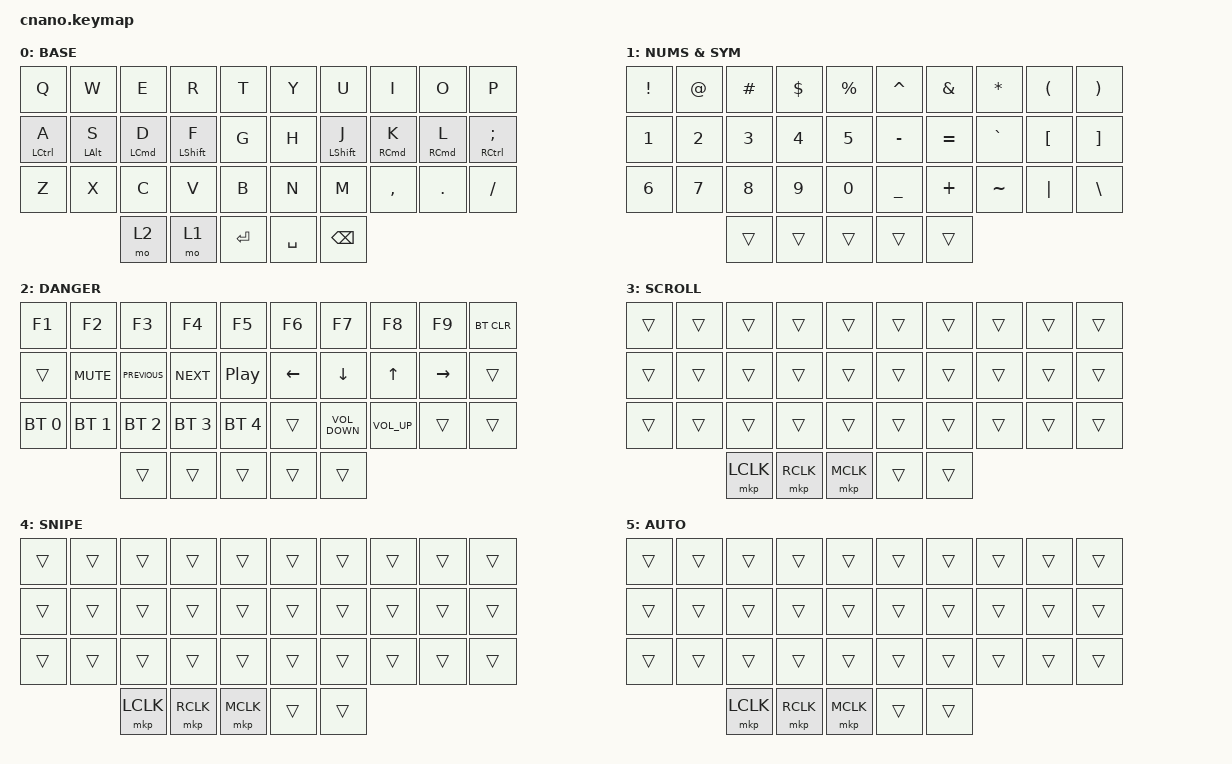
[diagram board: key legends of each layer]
#include <behaviors/mouse_keys.dtsi>

#include "zmk-helpers/helper.h"

#define HM_TAPPING_TERM 280
#define HM_TAPPING_TERM_FAST 175
#define HM_PRIOR_IDLE 150

#define COMBO_TERM_FAST 35
#define COMBO_TERM_SLOW 40
#define COMBO_PRIOR_IDLE 100

#define BASE 0
#define NUMS 1
#define DANGER 2
#define SCROLL 3
#define SNIPE 4
#define AUTO 5

#include "zmk-helpers/key-labels/34.h"                                      // key-position labels
#include <behaviors.dtsi>

#include <dt-bindings/zmk/bt.h>
#include <dt-bindings/zmk/keys.h>
#include <dt-bindings/zmk/mouse.h>

#define KEYS_L LT0 LT1 LT2 LT3 LT4 LM0 LM1 LM2 LM3 LM4 LB0 LB1 LB2 LB3 LB4  // left-hand keys
#define KEYS_R RT0 RT1 RT2 RT3 RT4 RM0 RM1 RM2 RM3 RM4 RB0 RB1 RB2 RB3 RB4  // right-hand keys
#define KEYS_T                 LH1 LH0 RH0 RH1                              // thumb keys

/ {
    combos {
        compatible = "zmk,combos";

        LeftClickLeft {
            timeout-ms = <COMBO_TERM_FAST>;
            require-prior-idle-ms = <COMBO_PRIOR_IDLE>;
            bindings = <&mkp LCLK>;
            key-positions = <11 12>;
        };

        RightClickLeft {
            timeout-ms = <COMBO_TERM_FAST>;
            require-prior-idle-ms = <COMBO_PRIOR_IDLE>;
            bindings = <&mkp RCLK>;
            key-positions = <12 13>;
        };

        MiddleClickLeft {
            timeout-ms = <COMBO_TERM_FAST>;
            require-prior-idle-ms = <COMBO_PRIOR_IDLE>;
            bindings = <&mkp MCLK>;
            key-positions = <11 12 13>;
        };

        LeftClickRight {
            timeout-ms = <COMBO_TERM_FAST>;
            require-prior-idle-ms = <COMBO_PRIOR_IDLE>;
            bindings = <&mkp LCLK>;
            key-positions = <16 17>;
        };

        RightClickRight {
            timeout-ms = <COMBO_TERM_FAST>;
            require-prior-idle-ms = <COMBO_PRIOR_IDLE>;
            bindings = <&mkp RCLK>;
            key-positions = <17 18>;
        };

        MiddleClickRight {
            timeout-ms = <COMBO_TERM_FAST>;
            require-prior-idle-ms = <COMBO_PRIOR_IDLE>;
            bindings = <&mkp MCLK>;
            key-positions = <16 17 18>;
        };

        ScrollLayerLeft {
            timeout-ms = <COMBO_TERM_FAST>;
            require-prior-idle-ms = <COMBO_PRIOR_IDLE>;
            bindings = <&mo 3>;
            key-positions = <21 22 23>;
        };

        SnipeLayerLeft {
            timeout-ms = <COMBO_TERM_FAST>;
            require-prior-idle-ms = <COMBO_PRIOR_IDLE>;
            bindings = <&mo 4>;
            key-positions = <20 21 22>;
        };

        ScrollLayerRight {
            timeout-ms = <COMBO_TERM_FAST>;
            require-prior-idle-ms = <COMBO_PRIOR_IDLE>;
            bindings = <&mo 3>;
            key-positions = <26 27 28>;
        };

        SnipeLayerRight {
            timeout-ms = <COMBO_TERM_FAST>;
            require-prior-idle-ms = <COMBO_PRIOR_IDLE>;
            bindings = <&mo 4>;
            key-positions = <27 28 29>;
        };

        AutoLayer {
            timeout-ms = <COMBO_TERM_FAST>;
            require-prior-idle-ms = <COMBO_PRIOR_IDLE>;
            bindings = <&mo 5>;
            key-positions = <3 4>;
        };

        ParaLeft {
            timeout-ms = <COMBO_TERM_FAST>;
            require-prior-idle-ms = <COMBO_PRIOR_IDLE>;
            bindings = <&kp LEFT_PARENTHESIS>;
            key-positions = <2 3>;
        };

        ParaRight {
            timeout-ms = <COMBO_TERM_FAST>;
            require-prior-idle-ms = <COMBO_PRIOR_IDLE>;
            bindings = <&kp RIGHT_PARENTHESIS>;
            key-positions = <6 7>;
        };

        BrakLeft {
            timeout-ms = <COMBO_TERM_FAST>;
            require-prior-idle-ms = <COMBO_PRIOR_IDLE>;
            bindings = <&kp LEFT_BRACKET>;
            key-positions = <1 0>;
        };

        BrakRight {
            timeout-ms = <COMBO_TERM_FAST>;
            require-prior-idle-ms = <COMBO_PRIOR_IDLE>;
            bindings = <&kp RIGHT_BRACKET>;
            key-positions = <8 9>;
        };

        BraceLeft {
            timeout-ms = <COMBO_TERM_FAST>;
            require-prior-idle-ms = <COMBO_PRIOR_IDLE>;
            bindings = <&kp LEFT_BRACE>;
            key-positions = <1 2>;
        };

        BraceRight {
            timeout-ms = <COMBO_TERM_FAST>;
            require-prior-idle-ms = <COMBO_PRIOR_IDLE>;
            bindings = <&kp RIGHT_BRACE>;
            key-positions = <7 8>;
        };

        CapsWord {
            timeout-ms = <COMBO_TERM_FAST>;
            require-prior-idle-ms = <COMBO_PRIOR_IDLE>;
            bindings = <&caps_word>;
            key-positions = <15 16>;
        };

        EscapeLeft {
            timeout-ms = <COMBO_TERM_FAST>;
            require-prior-idle-ms = <COMBO_PRIOR_IDLE>;
            bindings = <&kp ESCAPE>;
            key-positions = <0 1 2>;
        };

        EscapeRight {
            timeout-ms = <COMBO_TERM_FAST>;
            require-prior-idle-ms = <COMBO_PRIOR_IDLE>;
            bindings = <&kp ESCAPE>;
            key-positions = <26 27>;
        };

        Tab {
            timeout-ms = <COMBO_TERM_FAST>;
            require-prior-idle-ms = <COMBO_PRIOR_IDLE>;
            bindings = <&kp TAB>;
            key-positions = <28 27>;
        };

        Grave {
            timeout-ms = <COMBO_TERM_FAST>;
            require-prior-idle-ms = <COMBO_PRIOR_IDLE>;
            bindings = <&kp GRAVE>;
            key-positions = <29 28>;
        };

        Undo {
            timeout-ms = <COMBO_TERM_FAST>;
            require-prior-idle-ms = <COMBO_PRIOR_IDLE>;
            bindings = <&kp LG(Z)>;
            key-positions = <20 21>;
        };

        Redo {
            timeout-ms = <COMBO_TERM_FAST>;
            require-prior-idle-ms = <COMBO_PRIOR_IDLE>;
            bindings = <&kp LS(LG(Z))>;
            key-positions = <23 24>;
        };

        Quote {
            timeout-ms = <COMBO_TERM_FAST>;
            require-prior-idle-ms = <COMBO_PRIOR_IDLE>;
            bindings = <&kp SINGLE_QUOTE>;
            key-positions = <19 18>;
        };

        Copy {
            timeout-ms = <COMBO_TERM_FAST>;
            require-prior-idle-ms = <COMBO_PRIOR_IDLE>;
            bindings = <&kp LG(C)>;
            key-positions = <22 21>;
        };

        Paste {
            timeout-ms = <COMBO_TERM_FAST>;
            require-prior-idle-ms = <COMBO_PRIOR_IDLE>;
            bindings = <&kp LG(V)>;
            key-positions = <23 22>;
        };

       Dan_layer  {
            timeout-ms = <COMBO_TERM_FAST>;
            require-prior-idle-ms = <COMBO_PRIOR_IDLE>;
            bindings = <&mo 2>;
            key-positions = <33 34>;
        };
    };

    trackball_listener {
        compatible = "zmk,input-behavior-listener";
        device = <&vtrackball>;
        layers = <0 1 2 3 4 5>;
        evt-type = <INPUT_EV_REL>;
        x-input-code = <INPUT_REL_X>;
        y-input-code = <INPUT_REL_Y>;
        scale-multiplier = <1>;
        scale-divisor = <1>;
    };

    // trackball_listener2 {
    //     compatible = "zmk,input-behavior-listener";
    //     device = <&vtrackball2>;
    //     layers = <0 1 2 3 4 5>;
    //     evt-type = <INPUT_EV_REL>;
    //     x-input-code = <INPUT_REL_X>;
    //     y-input-code = <INPUT_REL_Y>;
    //     scale-multiplier = <1>;
    //     scale-divisor = <1>;
    // };

    trackball_snipe_listener {
        compatible = "zmk,input-behavior-listener";
        device = <&vtrackball>;
        layers = <4>;
        evt-type = <INPUT_EV_REL>;
        x-input-code = <INPUT_REL_X>;
        y-input-code = <INPUT_REL_Y>;
        scale-multiplier = <1>;
        scale-divisor = <16>;
    };

    trackball_scroll_listener {
        compatible = "zmk,input-behavior-listener";
        device = <&vtrackball>;
        layers = <3>;
        evt-type = <INPUT_EV_REL>;
        x-input-code = <INPUT_REL_MISC>;
        y-input-code = <INPUT_REL_WHEEL>;
        bindings = <&ib_wheel_scaler 1 25>;
    };

    // trackball_scroll_listener2 {
    //     compatible = "zmk,input-behavior-listener";
    //     device = <&vtrackball2>;
    //     layers = <9>;
    //     evt-type = <INPUT_EV_REL>;
    //     x-input-code = <INPUT_REL_MISC>;
    //     y-input-code = <INPUT_REL_WHEEL>;
    //     bindings = <&ib_wheel_scaler 1 25>;
    // };

    ib_wheel_scaler: ib_wheel_scaler {
        compatible = "zmk,input-behavior-scaler";
        #binding-cells = <2>;
        evt-type = <INPUT_EV_REL>;
        input-code = <INPUT_REL_WHEEL>;
    };

    behaviors {
        hm_l: homerow_mods_left {
            compatible = "zmk,behavior-hold-tap";
            #binding-cells = <2>;
            bindings = <&kp>, <&kp>;

            flavor = "balanced";
            tapping-term-ms = <HM_TAPPING_TERM>;
            quick-tap-ms = <175>;
            require-prior-idle-ms = <HM_PRIOR_IDLE>;
            hold-trigger-key-positions = <KEYS_R KEYS_T>;
            hold-trigger-on-release;
        };

        hm_r: homerow_mods_right {
            compatible = "zmk,behavior-hold-tap";
            #binding-cells = <2>;
            bindings = <&kp>, <&kp>;

            flavor = "balanced";
            tapping-term-ms = <HM_TAPPING_TERM>;
            quick-tap-ms = <175>;
            require-prior-idle-ms = <HM_PRIOR_IDLE>;
            hold-trigger-key-positions = <KEYS_L KEYS_T>;
            hold-trigger-on-release;
        };
    };

    keymap {
        compatible = "zmk,keymap";

        BASE {
            display-name = "BASE";
            bindings = <
  &kp Q                 &kp W             &kp E                 &kp R               &kp T        &kp Y      &kp U               &kp I                  &kp O                 &kp P
  &hm_l LEFT_CONTROL A  &hm_l LEFT_ALT S  &hm_l LEFT_COMMAND D  &hm_l LEFT_SHIFT F  &kp G        &kp H      &hm_r LEFT_SHIFT J  &hm_r RIGHT_COMMAND K  &hm_r RIGHT_COMMAND L &hm_r RIGHT_CONTROL SEMI
  &kp Z                 &kp X             &kp C                 &kp V               &kp B        &kp N      &kp M               &kp COMMA              &kp DOT               &kp SLASH
                                          &mo 2                 &mo 1               &kp ENTER    &kp SPACE  &kp BACKSPACE
            >;
        };

        NUMS {
            display-name = "NUMS & SYM";
            bindings = <
  &kp EXCL      &kp AT        &kp HASH      &kp DLLR      &kp PRCNT       &kp CARET  &kp AMPS   &kp ASTRK  &kp LPAR          &kp RPAR
  &kp NUMBER_1  &kp NUMBER_2  &kp NUMBER_3  &kp NUMBER_4  &kp NUMBER_5    &kp MINUS  &kp EQUAL  &kp GRAVE  &kp LEFT_BRACKET  &kp RIGHT_BRACKET
  &kp NUMBER_6  &kp NUMBER_7  &kp NUMBER_8  &kp N9        &kp NUMBER_0    &kp UNDER  &kp PLUS   &kp TILDE  &kp PIPE          &kp BACKSLASH
                              &trans        &trans        &trans          &trans     &trans
            >;
        };

        DANGER {
            display-name = "DANGER";
            bindings = <
  &kp F1        &kp F2        &kp F3          &kp F4        &kp F5              &kp F6    &kp F7             &kp F8           &kp F9     &bt BT_CLR
  &trans        &kp C_MUTE    &kp C_PREVIOUS  &kp C_NEXT    &kp C_PLAY_PAUSE    &kp LEFT  &kp DOWN           &kp UP           &kp RIGHT  &trans
  &bt BT_SEL 0  &bt BT_SEL 1  &bt BT_SEL 2    &bt BT_SEL 3  &bt BT_SEL 4        &trans    &kp C_VOLUME_DOWN  &kp C_VOLUME_UP  &trans     &trans
                              &trans          &trans        &trans              &trans    &trans
            >;
        };

        SCROLL {
            display-name = "SCROLL";
            bindings = <
&trans  &trans  &trans    &trans    &trans       &trans  &trans  &trans  &trans  &trans
&trans  &trans  &trans    &trans    &trans       &trans  &trans  &trans  &trans  &trans
&trans  &trans  &trans    &trans    &trans       &trans  &trans  &trans  &trans  &trans
                &mkp LCLK &mkp RCLK &mkp MCLK    &trans  &trans
            >;
        };

        SNIPE {
            display-name = "SNIPE";
            bindings = <
&trans  &trans  &trans    &trans    &trans       &trans  &trans  &trans  &trans  &trans
&trans  &trans  &trans    &trans    &trans       &trans  &trans  &trans  &trans  &trans
&trans  &trans  &trans    &trans    &trans       &trans  &trans  &trans  &trans  &trans
                &mkp LCLK &mkp RCLK &mkp MCLK    &trans  &trans
            >;
        };

        AUTO {
            display-name = "AUTO";
            bindings = <
&trans  &trans  &trans    &trans    &trans       &trans  &trans  &trans  &trans  &trans
&trans  &trans  &trans    &trans    &trans       &trans  &trans  &trans  &trans  &trans
&trans  &trans  &trans    &trans    &trans       &trans  &trans  &trans  &trans  &trans
                &mkp LCLK &mkp RCLK &mkp MCLK    &trans  &trans
            >;
        };
    };
};
